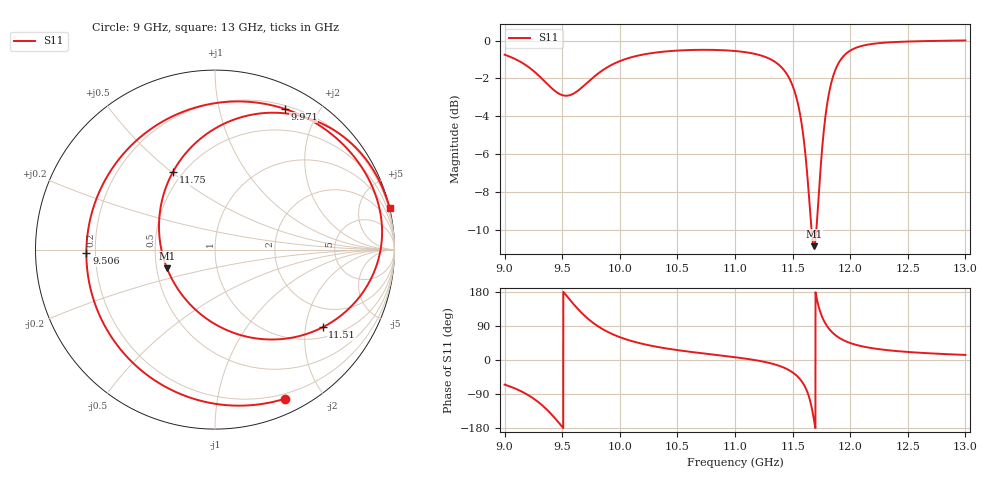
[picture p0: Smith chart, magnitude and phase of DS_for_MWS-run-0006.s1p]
! TOUCHSTONE file generated by CST DESIGN STUDIO
! Date and time: Tue Feb  4 18:15:35 2025
! Project name: C:\Work\MatlabApps\UnitCellOptimizationMatlab\CST\unitcell.cst
! Tree item: Tasks\Sweep1\SPara1\S-Parameters
! Header version: 2024
! Port assignment regex: !\s*Touchstone port\s*([0-9]+)\s*=\s*(CST MWS port|CST DES external port|CST DES block port)\s*(.+)\s* \(\"(.*)\"\)(\s*mode\s*([0-9]+))?.*
! Touchstone port assignment:
! Touchstone port 1 = CST DES external port 1 ("")
# GHz S MA R 50
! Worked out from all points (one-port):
!   4001 points, 9 GHz to 13 GHz, reference 50 ohm
!   lowest |S11| = -10.8 dB at 11.69 GHz (marker M1), VSWR 1.81, Z = 28.4 - j6.41 ohm
!   |S11| at or under -10 dB: 11.66449 GHz to 11.70587 GHz (41.38 MHz wide, 0.354 % of centre)
!   S11 on the Smith chart (normalised r, x): 9 GHz: 0.15, -1.56; 9.506 GHz: 0.16, -0.01; 9.971 GHz: 0.24, +1.58; 11.51 GHz: 1.30, -2.49; 11.75 GHz: 0.44, +0.50; 13 GHz: -0.01, +8.52
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9  0.9175 -64.9
9.167  0.868 -86.2
9.284  0.8147 -109.0
9.386  0.7601 -136.8
9.5  0.718 -176.3
9.506  0.7171 -178.6
9.596  0.724 148.3
9.717  0.774 110.6
9.825  0.8242 86.2
9.971  0.8749 63.7
10  0.8824 60.3
10.214  0.9199 41.4
10.5  0.9408 26.1
11  0.9383 7.4
11.328  0.8859 -10.2
11.5  0.76 -32.7
11.514  0.7396 -35.8
11.613  0.4946 -73.8
11.649  0.3638 -104.0
11.686  0.2871 -158.8
11.75  0.4913 118.6
11.792  0.655 92.8
11.838  0.7784 74.8
11.912  0.885 57.1
12  0.9404 44.8
12.186  0.9791 31.4
12.5  0.9938 21.2
13  1 13.4
